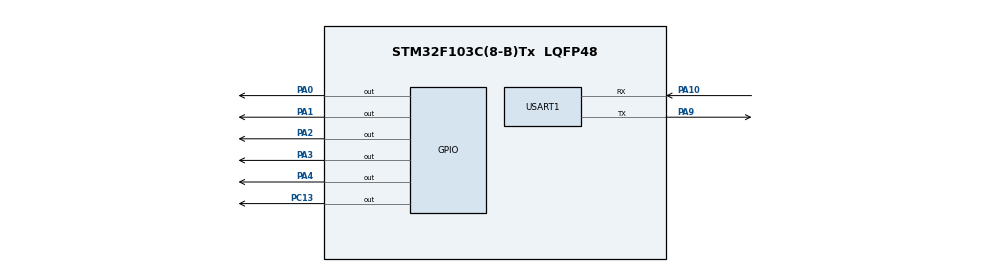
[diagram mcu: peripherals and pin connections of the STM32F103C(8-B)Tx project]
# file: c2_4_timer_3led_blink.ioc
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Mcu.Family=STM32F1
Mcu.Name=STM32F103C(8-B)Tx
Mcu.Package=LQFP48
NVIC.PriorityGroup=NVIC_PRIORITYGROUP_4
NVIC.TIM2_IRQn=true\:0\:0\:false\:false\:true\:true\:true\:true
PA0-WKUP.Signal=GPIO_Output
PA1.Signal=GPIO_Output
PA10.Mode=Asynchronous
PA10.Signal=USART1_RX
PA2.Signal=GPIO_Output
PA3.Signal=GPIO_Output
PA4.Signal=GPIO_Output
PA9.Mode=Asynchronous
PA9.Signal=USART1_TX
PC13-TAMPER-RTC.Signal=GPIO_Output
ProjectManager.HeapSize=0x200
ProjectManager.StackSize=0x400
ProjectManager.TargetToolchain=STM32CubeIDE
RCC.APB1Freq_Value=8000000
RCC.APB2Freq_Value=8000000
TIM2.Period=10000
TIM2.Prescaler=1000-1
USART1.VirtualMode=VM_ASYNC
VP_SYS_VS_ND.Mode=No_Debug
VP_TIM2_VS_ClockSourceINT.Mode=Internal
board=custom

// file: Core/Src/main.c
/* USER CODE BEGIN Header */
/**
  ******************************************************************************
  * @file           : main.c
  * @brief          : Main program body
  ******************************************************************************
  * @attention
  *
  * Copyright (c) 2025 STMicroelectronics.
  * All rights reserved.
  *
  * This software is licensed under terms that can be found in the LICENSE file
  * in the root directory of this software component.
  * If no LICENSE file comes with this software, it is provided AS-IS.
  *
  ******************************************************************************
  */
/* USER CODE END Header */
#include "main.h"

/* USER CODE BEGIN Includes */
volatile int count=0;
/* USER CODE END Includes */

TIM_HandleTypeDef htim2;

UART_HandleTypeDef huart1;

void SystemClock_Config(void);
static void MX_GPIO_Init(void);
static void MX_USART1_UART_Init(void);
static void MX_TIM2_Init(void);

int main(void)
{

  /* MCU Configuration--------------------------------------------------------*/

  /* Reset of all peripherals, Initializes the Flash interface and the Systick. */
  HAL_Init();

  /* Configure the system clock */
  SystemClock_Config();

  /* Initialize all configured peripherals */
  MX_GPIO_Init();
  MX_USART1_UART_Init();
  MX_TIM2_Init();
  /* USER CODE BEGIN 2 */

  int prev_count=0;

  /* USER CODE END 2 */

  /* Infinite loop */
  /* USER CODE BEGIN WHILE */
  HAL_GPIO_WritePin(GPIOC, GPIO_PIN_13,0);
  HAL_GPIO_WritePin(GPIOA, GPIO_PIN_0|GPIO_PIN_1|GPIO_PIN_2, 1);
  HAL_Delay(1000);
  HAL_GPIO_WritePin(GPIOA, GPIO_PIN_0|GPIO_PIN_1|GPIO_PIN_2, 0);

  __HAL_TIM_CLEAR_FLAG(&htim2, TIM_FLAG_UPDATE);
  HAL_TIM_Base_Start_IT(&htim2);
  while (1)
  {
    /* USER CODE END WHILE */

    /* USER CODE BEGIN 3 */
	  //---------------------------------- At first prev_count = count = 0  so when count =1 ie incremented  ---------------------------------//
	  // by timer interrupt only the code starts to execute
	  while(prev_count != count){
	  if(count%1 == 0){
		  HAL_GPIO_TogglePin(GPIOA, GPIO_PIN_0);
		  HAL_GPIO_TogglePin(GPIOC, GPIO_PIN_13);
	  }
	  if (count%2 == 0){

		  HAL_GPIO_TogglePin(GPIOA, GPIO_PIN_1);
	  }
	  if (count%4 == 0){

		  HAL_GPIO_TogglePin(GPIOA, GPIO_PIN_2);
	  }
	  prev_count=count;
	  }
  }
  /* USER CODE END 3 */
}

void SystemClock_Config(void)
{
  RCC_OscInitTypeDef RCC_OscInitStruct = {0};
  RCC_ClkInitTypeDef RCC_ClkInitStruct = {0};

  /** Initializes the RCC Oscillators according to the specified parameters
  * in the RCC_OscInitTypeDef structure.
  */
  RCC_OscInitStruct.OscillatorType = RCC_OSCILLATORTYPE_HSI;
  RCC_OscInitStruct.HSIState = RCC_HSI_ON;
  RCC_OscInitStruct.HSICalibrationValue = RCC_HSICALIBRATION_DEFAULT;
  RCC_OscInitStruct.PLL.PLLState = RCC_PLL_NONE;
  if (HAL_RCC_OscConfig(&RCC_OscInitStruct) != HAL_OK)
  {
    Error_Handler();
  }

  /** Initializes the CPU, AHB and APB buses clocks
  */
  RCC_ClkInitStruct.ClockType = RCC_CLOCKTYPE_HCLK|RCC_CLOCKTYPE_SYSCLK
                              |RCC_CLOCKTYPE_PCLK1|RCC_CLOCKTYPE_PCLK2;
  RCC_ClkInitStruct.SYSCLKSource = RCC_SYSCLKSOURCE_HSI;
  RCC_ClkInitStruct.AHBCLKDivider = RCC_SYSCLK_DIV1;
  RCC_ClkInitStruct.APB1CLKDivider = RCC_HCLK_DIV1;
  RCC_ClkInitStruct.APB2CLKDivider = RCC_HCLK_DIV1;

  if (HAL_RCC_ClockConfig(&RCC_ClkInitStruct, FLASH_LATENCY_0) != HAL_OK)
  {
    Error_Handler();
  }
}

static void MX_TIM2_Init(void)
{

  TIM_ClockConfigTypeDef sClockSourceConfig = {0};
  TIM_MasterConfigTypeDef sMasterConfig = {0};

  htim2.Instance = TIM2;
  htim2.Init.Prescaler = 1000-1;
  htim2.Init.CounterMode = TIM_COUNTERMODE_UP;
  htim2.Init.Period = 10000;
  htim2.Init.ClockDivision = TIM_CLOCKDIVISION_DIV1;
  htim2.Init.AutoReloadPreload = TIM_AUTORELOAD_PRELOAD_DISABLE;
  if (HAL_TIM_Base_Init(&htim2) != HAL_OK)
  {
    Error_Handler();
  }
  sClockSourceConfig.ClockSource = TIM_CLOCKSOURCE_INTERNAL;
  if (HAL_TIM_ConfigClockSource(&htim2, &sClockSourceConfig) != HAL_OK)
  {
    Error_Handler();
  }
  sMasterConfig.MasterOutputTrigger = TIM_TRGO_RESET;
  sMasterConfig.MasterSlaveMode = TIM_MASTERSLAVEMODE_DISABLE;
  if (HAL_TIMEx_MasterConfigSynchronization(&htim2, &sMasterConfig) != HAL_OK)
  {
    Error_Handler();
  }

}

static void MX_USART1_UART_Init(void)
{

  huart1.Instance = USART1;
  huart1.Init.BaudRate = 115200;
  huart1.Init.WordLength = UART_WORDLENGTH_8B;
  huart1.Init.StopBits = UART_STOPBITS_1;
  huart1.Init.Parity = UART_PARITY_NONE;
  huart1.Init.Mode = UART_MODE_TX_RX;
  huart1.Init.HwFlowCtl = UART_HWCONTROL_NONE;
  huart1.Init.OverSampling = UART_OVERSAMPLING_16;
  if (HAL_UART_Init(&huart1) != HAL_OK)
  {
    Error_Handler();
  }

}

static void MX_GPIO_Init(void)
{
  GPIO_InitTypeDef GPIO_InitStruct = {0};

  /* GPIO Ports Clock Enable */
  __HAL_RCC_GPIOC_CLK_ENABLE();
  __HAL_RCC_GPIOA_CLK_ENABLE();

  /*Configure GPIO pin Output Level */
  HAL_GPIO_WritePin(GPIOC, GPIO_PIN_13, GPIO_PIN_RESET);

  /*Configure GPIO pin Output Level */
  HAL_GPIO_WritePin(GPIOA, GPIO_PIN_0|GPIO_PIN_1|GPIO_PIN_2|GPIO_PIN_3
                          |GPIO_PIN_4, GPIO_PIN_RESET);

  /*Configure GPIO pin : PC13 */
  GPIO_InitStruct.Pin = GPIO_PIN_13;
  GPIO_InitStruct.Mode = GPIO_MODE_OUTPUT_PP;
  GPIO_InitStruct.Pull = GPIO_NOPULL;
  GPIO_InitStruct.Speed = GPIO_SPEED_FREQ_LOW;
  HAL_GPIO_Init(GPIOC, &GPIO_InitStruct);

  /*Configure GPIO pins : PA0 PA1 PA2 PA3
                           PA4 */
  GPIO_InitStruct.Pin = GPIO_PIN_0|GPIO_PIN_1|GPIO_PIN_2|GPIO_PIN_3
                          |GPIO_PIN_4;
  GPIO_InitStruct.Mode = GPIO_MODE_OUTPUT_PP;
  GPIO_InitStruct.Pull = GPIO_NOPULL;
  GPIO_InitStruct.Speed = GPIO_SPEED_FREQ_LOW;
  HAL_GPIO_Init(GPIOA, &GPIO_InitStruct);

}

void Error_Handler(void)
{
  __disable_irq();
  while (1)
  {
  }
}
